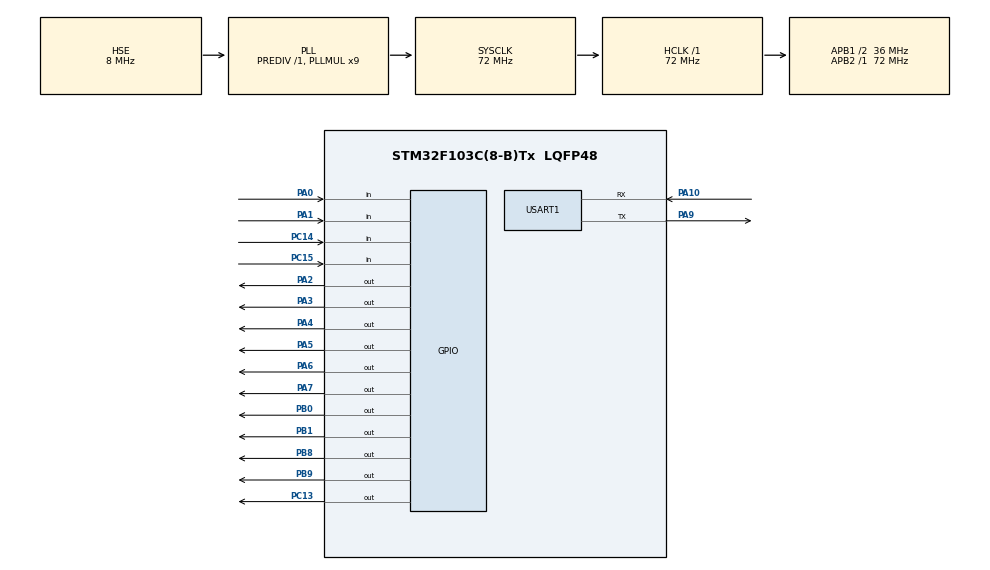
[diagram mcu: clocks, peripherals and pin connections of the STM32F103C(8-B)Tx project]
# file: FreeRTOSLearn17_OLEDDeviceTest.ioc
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FREERTOS.BinarySemaphores01=myBinarySem01,Dynamic,NULL,Available
FREERTOS.CountingSemaphores01=myCountingSem01,4,Dynamic,NULL,0
FREERTOS.INCLUDE_xTaskGetHandle=1
FREERTOS.Mutexes01=myMutex01,Dynamic,NULL,Available
FREERTOS.Tasks01=defaultTask,8,128,StartDefaultTask,Default,NULL,Dynamic,NULL,NULL
FREERTOS.configTOTAL_HEAP_SIZE=4096
Mcu.Family=STM32F1
Mcu.Name=STM32F103C(8-B)Tx
Mcu.Package=LQFP48
NVIC.PriorityGroup=NVIC_PRIORITYGROUP_4
NVIC.TIM2_IRQn=true\:5\:0\:false\:false\:true\:true\:true\:true\:true
NVIC.USART1_IRQn=true\:5\:0\:false\:false\:true\:true\:true\:true\:true
PA0-WKUP.GPIO_PuPd=GPIO_PULLUP
PA0-WKUP.Signal=GPIO_Input
PA1.GPIO_PuPd=GPIO_PULLUP
PA1.Signal=GPIO_Input
PA10.Mode=Asynchronous
PA10.Signal=USART1_RX
PA13.Mode=Serial_Wire
PA13.Signal=SYS_JTMS-SWDIO
PA14.Mode=Serial_Wire
PA14.Signal=SYS_JTCK-SWCLK
PA2.PinState=GPIO_PIN_SET
PA2.Signal=GPIO_Output
PA3.PinState=GPIO_PIN_SET
PA3.Signal=GPIO_Output
PA4.PinState=GPIO_PIN_SET
PA4.Signal=GPIO_Output
PA5.PinState=GPIO_PIN_SET
PA5.Signal=GPIO_Output
PA6.PinState=GPIO_PIN_SET
PA6.Signal=GPIO_Output
PA7.PinState=GPIO_PIN_SET
PA7.Signal=GPIO_Output
PA9.Mode=Asynchronous
PA9.Signal=USART1_TX
PB0.PinState=GPIO_PIN_SET
PB0.Signal=GPIO_Output
PB1.PinState=GPIO_PIN_SET
PB1.Signal=GPIO_Output
PB8.GPIO_ModeDefaultOutputPP=GPIO_MODE_OUTPUT_OD
PB8.GPIO_PuPd=GPIO_PULLUP
PB8.GPIO_Speed=GPIO_SPEED_FREQ_HIGH
PB8.Signal=GPIO_Output
PB9.GPIO_ModeDefaultOutputPP=GPIO_MODE_OUTPUT_OD
PB9.GPIO_PuPd=GPIO_PULLUP
PB9.GPIO_Speed=GPIO_SPEED_FREQ_HIGH
PB9.Signal=GPIO_Output
PC13-TAMPER-RTC.Signal=GPIO_Output
PC14-OSC32_IN.GPIO_PuPd=GPIO_PULLUP
PC14-OSC32_IN.Signal=GPIO_Input
PC15-OSC32_OUT.GPIO_PuPd=GPIO_PULLUP
PC15-OSC32_OUT.Signal=GPIO_Input
PD0-OSC_IN.Mode=HSE-External-Oscillator
PD0-OSC_IN.Signal=RCC_OSC_IN
PD1-OSC_OUT.Mode=HSE-External-Oscillator
PD1-OSC_OUT.Signal=RCC_OSC_OUT
ProjectManager.HeapSize=0x200
ProjectManager.StackSize=0x400
ProjectManager.TargetToolchain=MDK-ARM V5.32
RCC.AHBFreq_Value=72000000
RCC.APB1CLKDivider=RCC_HCLK_DIV2
RCC.APB1Freq_Value=36000000
RCC.APB1TimFreq_Value=72000000
RCC.APB2Freq_Value=72000000
RCC.APB2TimFreq_Value=72000000
RCC.HCLKFreq_Value=72000000
RCC.PLLMUL=RCC_PLL_MUL9
RCC.PLLSourceVirtual=RCC_PLLSOURCE_HSE
RCC.SYSCLKFreq_VALUE=72000000
RCC.SYSCLKSource=RCC_SYSCLKSOURCE_PLLCLK
RCC.USBFreq_Value=72000000
TIM2.Period=359
USART1.VirtualMode=VM_ASYNC
VP_FREERTOS_VS_CMSIS_V2.Mode=CMSIS_V2
VP_TIM2_VS_ClockSourceINT.Mode=Internal
board=custom

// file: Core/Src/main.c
/* USER CODE BEGIN Header */
/**
  ******************************************************************************
  * @file           : main.c
  * @brief          : Main program body
  ******************************************************************************
  * @attention
  *
  * Copyright (c) 2026 STMicroelectronics.
  * All rights reserved.
  *
  * This software is licensed under terms that can be found in the LICENSE file
  * in the root directory of this software component.
  * If no LICENSE file comes with this software, it is provided AS-IS.
  *
  ******************************************************************************
  */
/* USER CODE END Header */
#include "main.h"
#include "cmsis_os.h"

/* USER CODE BEGIN Includes */
#include "LedDevice.h"
#include "Task.h"
#include "DHT11Device.h"
#include "RingBufferDevice.h"
/* USER CODE END Includes */

TIM_HandleTypeDef htim2;

UART_HandleTypeDef huart1;

/* Definitions for defaultTask */
osThreadId_t defaultTaskHandle;
const osThreadAttr_t defaultTask_attributes = {
  .name = "defaultTask",
  .stack_size = 128 * 4,
  .priority = (osPriority_t) osPriorityLow,
};
/* Definitions for myMutex01 */
osMutexId_t myMutex01Handle;
const osMutexAttr_t myMutex01_attributes = {
  .name = "myMutex01"
};
/* Definitions for myBinarySem01 */
osSemaphoreId_t myBinarySem01Handle;
const osSemaphoreAttr_t myBinarySem01_attributes = {
  .name = "myBinarySem01"
};
/* Definitions for myCountingSem01 */
osSemaphoreId_t myCountingSem01Handle;
const osSemaphoreAttr_t myCountingSem01_attributes = {
  .name = "myCountingSem01"
};

void SystemClock_Config(void);
static void MX_GPIO_Init(void);
static void MX_TIM2_Init(void);
static void MX_USART1_UART_Init(void);
void StartDefaultTask(void *argument);

int main(void)
{

  /* MCU Configuration--------------------------------------------------------*/

  /* Reset of all peripherals, Initializes the Flash interface and the Systick. */
  HAL_Init();

  /* Configure the system clock */
  SystemClock_Config();

  /* USER CODE BEGIN SysInit */
	vLedInit();
	vDht11Init();
	vRingBufferInit();
	vCmdInterpreterInit();

  /* USER CODE END SysInit */

  /* Initialize all configured peripherals */
  MX_GPIO_Init();
  MX_TIM2_Init();
  MX_USART1_UART_Init();
  /* USER CODE BEGIN 2 */
  	vOledInit();

	__HAL_TIM_ENABLE_IT(&htim2,TIM_IT_UPDATE);	//开启UPDATE中断
	HAL_TIM_Base_Start(&htim2);
	vLedOFF(0);//板载LED好闪眼睛。。。
  /* USER CODE END 2 */

  /* Init scheduler */
  osKernelInitialize();
  /* Create the mutex(es) */
  /* creation of myMutex01 */
  myMutex01Handle = osMutexNew(&myMutex01_attributes);

  /* Create the semaphores(s) */
  /* creation of myBinarySem01 */
  myBinarySem01Handle = osSemaphoreNew(1, 1, &myBinarySem01_attributes);

  /* creation of myCountingSem01 */
  myCountingSem01Handle = osSemaphoreNew(4, 0, &myCountingSem01_attributes);

  /* Create the thread(s) */
  /* creation of defaultTask */
  defaultTaskHandle = osThreadNew(StartDefaultTask, NULL, &defaultTask_attributes);

  /* Start scheduler */
  osKernelStart();

  /* We should never get here as control is now taken by the scheduler */

  /* Infinite loop */
  while (1)
  {

  }
}

void SystemClock_Config(void)
{
  RCC_OscInitTypeDef RCC_OscInitStruct = {0};
  RCC_ClkInitTypeDef RCC_ClkInitStruct = {0};

  /** Initializes the RCC Oscillators according to the specified parameters
  * in the RCC_OscInitTypeDef structure.
  */
  RCC_OscInitStruct.OscillatorType = RCC_OSCILLATORTYPE_HSE;
  RCC_OscInitStruct.HSEState = RCC_HSE_ON;
  RCC_OscInitStruct.HSEPredivValue = RCC_HSE_PREDIV_DIV1;
  RCC_OscInitStruct.HSIState = RCC_HSI_ON;
  RCC_OscInitStruct.PLL.PLLState = RCC_PLL_ON;
  RCC_OscInitStruct.PLL.PLLSource = RCC_PLLSOURCE_HSE;
  RCC_OscInitStruct.PLL.PLLMUL = RCC_PLL_MUL9;
  if (HAL_RCC_OscConfig(&RCC_OscInitStruct) != HAL_OK)
  {
    Error_Handler();
  }

  /** Initializes the CPU, AHB and APB buses clocks
  */
  RCC_ClkInitStruct.ClockType = RCC_CLOCKTYPE_HCLK|RCC_CLOCKTYPE_SYSCLK
                              |RCC_CLOCKTYPE_PCLK1|RCC_CLOCKTYPE_PCLK2;
  RCC_ClkInitStruct.SYSCLKSource = RCC_SYSCLKSOURCE_PLLCLK;
  RCC_ClkInitStruct.AHBCLKDivider = RCC_SYSCLK_DIV1;
  RCC_ClkInitStruct.APB1CLKDivider = RCC_HCLK_DIV2;
  RCC_ClkInitStruct.APB2CLKDivider = RCC_HCLK_DIV1;

  if (HAL_RCC_ClockConfig(&RCC_ClkInitStruct, FLASH_LATENCY_2) != HAL_OK)
  {
    Error_Handler();
  }
}

static void MX_TIM2_Init(void)
{

  TIM_ClockConfigTypeDef sClockSourceConfig = {0};
  TIM_MasterConfigTypeDef sMasterConfig = {0};

  htim2.Instance = TIM2;
  htim2.Init.Prescaler = 0;
  htim2.Init.CounterMode = TIM_COUNTERMODE_UP;
  htim2.Init.Period = 359;
  htim2.Init.ClockDivision = TIM_CLOCKDIVISION_DIV1;
  htim2.Init.AutoReloadPreload = TIM_AUTORELOAD_PRELOAD_DISABLE;
  if (HAL_TIM_Base_Init(&htim2) != HAL_OK)
  {
    Error_Handler();
  }
  sClockSourceConfig.ClockSource = TIM_CLOCKSOURCE_INTERNAL;
  if (HAL_TIM_ConfigClockSource(&htim2, &sClockSourceConfig) != HAL_OK)
  {
    Error_Handler();
  }
  sMasterConfig.MasterOutputTrigger = TIM_TRGO_RESET;
  sMasterConfig.MasterSlaveMode = TIM_MASTERSLAVEMODE_DISABLE;
  if (HAL_TIMEx_MasterConfigSynchronization(&htim2, &sMasterConfig) != HAL_OK)
  {
    Error_Handler();
  }

}

static void MX_USART1_UART_Init(void)
{

  huart1.Instance = USART1;
  huart1.Init.BaudRate = 115200;
  huart1.Init.WordLength = UART_WORDLENGTH_8B;
  huart1.Init.StopBits = UART_STOPBITS_1;
  huart1.Init.Parity = UART_PARITY_NONE;
  huart1.Init.Mode = UART_MODE_TX_RX;
  huart1.Init.HwFlowCtl = UART_HWCONTROL_NONE;
  huart1.Init.OverSampling = UART_OVERSAMPLING_16;
  if (HAL_UART_Init(&huart1) != HAL_OK)
  {
    Error_Handler();
  }
  /* USER CODE BEGIN USART1_Init 2 */
	__HAL_UART_ENABLE_IT(&huart1,UART_IT_RXNE);
  __HAL_UART_ENABLE(&huart1);
  /* USER CODE END USART1_Init 2 */

}

static void MX_GPIO_Init(void)
{
  GPIO_InitTypeDef GPIO_InitStruct = {0};

  /* GPIO Ports Clock Enable */
  __HAL_RCC_GPIOC_CLK_ENABLE();
  __HAL_RCC_GPIOD_CLK_ENABLE();
  __HAL_RCC_GPIOA_CLK_ENABLE();
  __HAL_RCC_GPIOB_CLK_ENABLE();

  /*Configure GPIO pin Output Level */
  HAL_GPIO_WritePin(GPIOC, GPIO_PIN_13, GPIO_PIN_RESET);

  /*Configure GPIO pin Output Level */
  HAL_GPIO_WritePin(GPIOA, GPIO_PIN_2|GPIO_PIN_3|GPIO_PIN_4|GPIO_PIN_5
                          |GPIO_PIN_6|GPIO_PIN_7, GPIO_PIN_SET);

  /*Configure GPIO pin Output Level */
  HAL_GPIO_WritePin(GPIOB, GPIO_PIN_0|GPIO_PIN_1, GPIO_PIN_SET);

  /*Configure GPIO pin Output Level */
  HAL_GPIO_WritePin(GPIOB, GPIO_PIN_8|GPIO_PIN_9, GPIO_PIN_RESET);

  /*Configure GPIO pin : PC13 */
  GPIO_InitStruct.Pin = GPIO_PIN_13;
  GPIO_InitStruct.Mode = GPIO_MODE_OUTPUT_PP;
  GPIO_InitStruct.Pull = GPIO_NOPULL;
  GPIO_InitStruct.Speed = GPIO_SPEED_FREQ_LOW;
  HAL_GPIO_Init(GPIOC, &GPIO_InitStruct);

  /*Configure GPIO pins : PC14 PC15 */
  GPIO_InitStruct.Pin = GPIO_PIN_14|GPIO_PIN_15;
  GPIO_InitStruct.Mode = GPIO_MODE_INPUT;
  GPIO_InitStruct.Pull = GPIO_PULLUP;
  HAL_GPIO_Init(GPIOC, &GPIO_InitStruct);

  /*Configure GPIO pins : PA0 PA1 */
  GPIO_InitStruct.Pin = GPIO_PIN_0|GPIO_PIN_1;
  GPIO_InitStruct.Mode = GPIO_MODE_INPUT;
  GPIO_InitStruct.Pull = GPIO_PULLUP;
  HAL_GPIO_Init(GPIOA, &GPIO_InitStruct);

  /*Configure GPIO pins : PA2 PA3 PA4 PA5
                           PA6 PA7 */
  GPIO_InitStruct.Pin = GPIO_PIN_2|GPIO_PIN_3|GPIO_PIN_4|GPIO_PIN_5
                          |GPIO_PIN_6|GPIO_PIN_7;
  GPIO_InitStruct.Mode = GPIO_MODE_OUTPUT_PP;
  GPIO_InitStruct.Pull = GPIO_NOPULL;
  GPIO_InitStruct.Speed = GPIO_SPEED_FREQ_LOW;
  HAL_GPIO_Init(GPIOA, &GPIO_InitStruct);

  /*Configure GPIO pins : PB0 PB1 */
  GPIO_InitStruct.Pin = GPIO_PIN_0|GPIO_PIN_1;
  GPIO_InitStruct.Mode = GPIO_MODE_OUTPUT_PP;
  GPIO_InitStruct.Pull = GPIO_NOPULL;
  GPIO_InitStruct.Speed = GPIO_SPEED_FREQ_LOW;
  HAL_GPIO_Init(GPIOB, &GPIO_InitStruct);

  /*Configure GPIO pins : PB8 PB9 */
  GPIO_InitStruct.Pin = GPIO_PIN_8|GPIO_PIN_9;
  GPIO_InitStruct.Mode = GPIO_MODE_OUTPUT_OD;
  GPIO_InitStruct.Pull = GPIO_PULLUP;
  GPIO_InitStruct.Speed = GPIO_SPEED_FREQ_HIGH;
  HAL_GPIO_Init(GPIOB, &GPIO_InitStruct);

}

void StartDefaultTask(void *argument)
{
  /* USER CODE BEGIN 5 */

  /* Infinite loop */
  for(;;)
  {
		vTaskExecute();
  }
  /* USER CODE END 5 */
}

void Error_Handler(void)
{
  __disable_irq();
  while (1)
  {
  }
}
